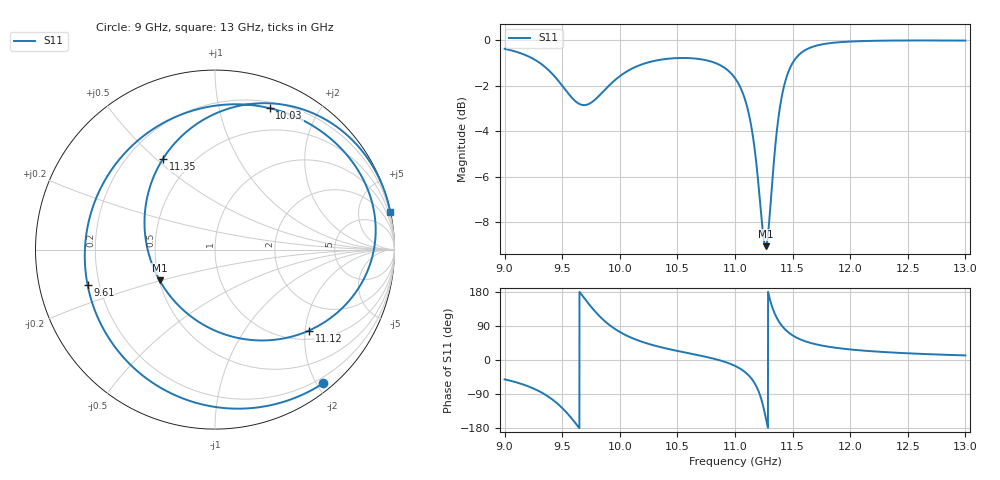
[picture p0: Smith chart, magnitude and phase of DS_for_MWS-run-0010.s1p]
! TOUCHSTONE file generated by CST DESIGN STUDIO
! Date and time: Tue Feb  4 14:35:54 2025
! Project name: C:\Work\MatlabApps\UnitCellOptimizationMatlab\CST\unitcell.cst
! Tree item: Tasks\Sweep1\SPara1\S-Parameters
! Header version: 2024
! Port assignment regex: !\s*Touchstone port\s*([0-9]+)\s*=\s*(CST MWS port|CST DES external port|CST DES block port)\s*(.+)\s* \(\"(.*)\"\)(\s*mode\s*([0-9]+))?.*
! Touchstone port assignment:
! Touchstone port 1 = CST DES external port 1 ("")
# GHz S MA R 50
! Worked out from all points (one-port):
!   4001 points, 9 GHz to 13 GHz, reference 50 ohm
!   lowest |S11| = -9.0 dB at 11.27 GHz (marker M1), VSWR 2.09, Z = 25.1 - j9.83 ohm
!   |S11| at or under -10 dB: nowhere
!   S11 on the Smith chart (normalised r, x): 9 GHz: 0.11, -2.09; 9.61 GHz: 0.15, -0.13; 10.03 GHz: 0.26, +1.43; 11.12 GHz: 1.21, -2.10; 11.35 GHz: 0.34, +0.53; 13 GHz: 0.05, +9.44
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9  0.9581 -51.1
9.172  0.9302 -65.8
9.324  0.8851 -86.3
9.418  0.8419 -105.0
9.5  0.7951 -126.7
9.61  0.7367 -164.6
9.699  0.7208 160.2
9.806  0.7493 121.3
9.894  0.7897 96.2
10  0.8342 74.0
10.031  0.845 68.8
10.233  0.8924 44.1
10.5  0.9142 23.9
10.803  0.8966 4.4
11  0.826 -15.5
11.119  0.6911 -40.7
11.201  0.4905 -79.7
11.233  0.3991 -108.3
11.266  0.3531 -151.0
11.306  0.4279 156.6
11.349  0.5836 119.7
11.413  0.768 88.1
11.5  0.8919 65.0
11.582  0.9418 52.5
11.684  0.9698 42.8
12  0.9939 27.8
12.5  0.9993 17.7
13  0.9988 12.1
